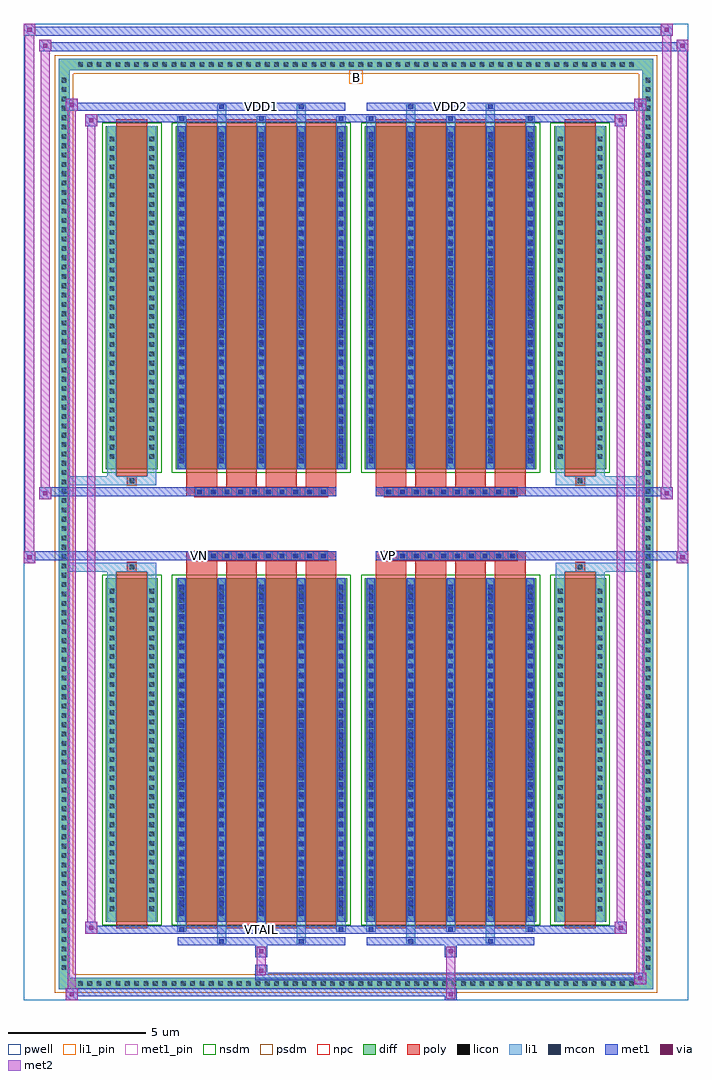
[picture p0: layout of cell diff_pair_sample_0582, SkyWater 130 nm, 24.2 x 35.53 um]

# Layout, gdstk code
import gdstk
lib = gdstk.Library(unit=1e-6, precision=5e-09)
def R(c, l, rs):  # rectangles x0, y0, x1, y1
    for r in rs: c.add(gdstk.rectangle(r[:2], r[2:], *l))
def A(c, l, x, y, w, h, nx, ny, dx, dy):  # array of equal rectangles
    R(c, l, [(x+i*dx, y+j*dy, x+i*dx+w, y+j*dy+h) for i in range(nx) for j in range(ny)])
def P(c, l, *ps):  # polygons
    for p in ps: c.add(gdstk.Polygon(p, *l))
pwell = (64, 44)
diff = (65, 20)
poly = (66, 20)
licon = (66, 44)
li1_pin = (67, 16)
li1 = (67, 20)
mcon = (67, 44)
met1_pin = (68, 16)
met1 = (68, 20)
via = (68, 44)
met2 = (69, 20)
nsdm = (93, 44)
psdm = (94, 20)
npc = (95, 20)

diff_pair_sample_0582 = lib.new_cell('diff_pair_sample_0582')
R(diff_pair_sample_0582, pwell, [(-12.1,-17.33,12.1,18.2), (-9.42,-15.52,-0.01,-0.8), (0.01,-15.52,9.42,-0.8), (-9.42,0.8,-0.01,15.52), (0.01,0.8,9.42,15.52)])
A(diff_pair_sample_0582, diff, -10.235, -16.93, 0.41, 0.41, 60, 2, 0.34, 33.45)
A(diff_pair_sample_0582, diff, -10.83, -16.355, 0.41, 0.41, 1, 96, 0, 0.34)
A(diff_pair_sample_0582, diff, 10.42, -16.355, 0.41, 0.41, 1, 96, 0, 0.34)
R(diff_pair_sample_0582, diff, [(-10.235,-16.93,10.235,-16.52), (-10.83,-16.355,-10.42,16.355), (10.42,-16.355,10.83,16.355), (-9.11,-14.475,-7.21,-1.985), (-6.57,-14.475,-0.32,-1.985), (0.32,-14.475,6.57,-1.985), (7.21,-14.475,9.11,-1.985), (-9.11,1.985,-7.21,14.475), (-6.57,1.985,-0.32,14.475), (0.32,1.985,6.57,14.475), (7.21,1.985,9.11,14.475), (-10.235,16.52,10.235,16.93)])
P(diff_pair_sample_0582, diff, [(10.83,16.93),(-10.83,16.93),(-10.83,-16.52),(-10.42,-16.52),(-10.42,16.52),(10.42,16.52),(10.42,-16.52),(-10.42,-16.52),(-10.83,-16.52),(-10.83,-16.93),(10.83,-16.93)])
A(diff_pair_sample_0582, poly, -6.18, -14.725, 1.12, 12.99, 4, 2, 1.45, 16.46)
A(diff_pair_sample_0582, poly, 0.71, -14.725, 1.12, 12.99, 4, 2, 1.45, 16.46)
A(diff_pair_sample_0582, poly, -6.18, -1.735, 1.12, 0.405, 4, 2, 1.45, 3.065)
A(diff_pair_sample_0582, poly, 0.71, -1.735, 1.12, 0.405, 4, 2, 1.45, 3.065)
A(diff_pair_sample_0582, poly, -5.86, -1.33, 0.33, 0.33, 10, 2, 0.5, 2.33)
A(diff_pair_sample_0582, poly, 1.03, -1.33, 0.33, 0.33, 10, 2, 0.5, 2.33)
R(diff_pair_sample_0582, poly, [(-8.72,-14.725,-7.6,-1.735), (7.6,-14.725,8.72,-1.735), (-8.325,-1.735,-7.995,-1.405), (-8.325,-1.735,-7.995,-1.405), (7.995,-1.735,8.325,-1.405), (7.995,-1.735,8.325,-1.405), (-6.18,-1.33,-0.71,-1), (0.71,-1.33,6.18,-1), (-6.18,1,-0.71,1.33), (0.71,1,6.18,1.33), (-8.325,1.405,-7.995,1.735), (-8.325,1.405,-7.995,1.735), (7.995,1.405,8.325,1.735), (7.995,1.405,8.325,1.735), (-8.72,1.735,-7.6,14.725), (7.6,1.735,8.72,14.725)])
A(diff_pair_sample_0582, licon, -10.115, -16.81, 0.17, 0.17, 60, 2, 0.34, 33.45)
A(diff_pair_sample_0582, licon, -10.71, -16.235, 0.17, 0.17, 1, 96, 0, 0.34)
A(diff_pair_sample_0582, licon, 10.54, -16.235, 0.17, 0.17, 1, 96, 0, 0.34)
A(diff_pair_sample_0582, licon, -8.97, -14.095, 0.17, 0.17, 1, 35, 0, 0.34)
A(diff_pair_sample_0582, licon, -7.52, -14.095, 0.17, 0.17, 1, 35, 0, 0.34)
A(diff_pair_sample_0582, licon, -6.43, -14.095, 0.17, 0.17, 5, 35, 1.45, 0.34)
A(diff_pair_sample_0582, licon, 0.46, -14.095, 0.17, 0.17, 5, 35, 1.45, 0.34)
A(diff_pair_sample_0582, licon, 7.35, -14.095, 0.17, 0.17, 1, 35, 0, 0.34)
A(diff_pair_sample_0582, licon, 8.8, -14.095, 0.17, 0.17, 1, 35, 0, 0.34)
A(diff_pair_sample_0582, licon, -5.78, -1.25, 0.17, 0.17, 10, 2, 0.5, 2.33)
A(diff_pair_sample_0582, licon, 1.11, -1.25, 0.17, 0.17, 10, 2, 0.5, 2.33)
A(diff_pair_sample_0582, licon, -8.97, 2.365, 0.17, 0.17, 1, 35, 0, 0.34)
A(diff_pair_sample_0582, licon, -7.52, 2.365, 0.17, 0.17, 1, 35, 0, 0.34)
A(diff_pair_sample_0582, licon, -6.43, 2.365, 0.17, 0.17, 5, 35, 1.45, 0.34)
A(diff_pair_sample_0582, licon, 0.46, 2.365, 0.17, 0.17, 5, 35, 1.45, 0.34)
A(diff_pair_sample_0582, licon, 7.35, 2.365, 0.17, 0.17, 1, 35, 0, 0.34)
A(diff_pair_sample_0582, licon, 8.8, 2.365, 0.17, 0.17, 1, 35, 0, 0.34)
R(diff_pair_sample_0582, licon, [(-8.245,-1.655,-8.075,-1.485), (8.075,-1.655,8.245,-1.485), (-8.245,1.485,-8.075,1.655), (8.075,1.485,8.245,1.655)])
R(diff_pair_sample_0582, li1_pin, [(-0.25,16.02,0.25,16.52)])
A(diff_pair_sample_0582, li1, -10.195, -16.89, 0.33, 0.33, 60, 2, 0.34, 33.45)
A(diff_pair_sample_0582, li1, -10.79, -16.315, 0.33, 0.33, 1, 96, 0, 0.34)
A(diff_pair_sample_0582, li1, 10.46, -16.315, 0.33, 0.33, 1, 96, 0, 0.34)
A(diff_pair_sample_0582, li1, -6.51, -14.85, 0.33, 0.375, 3, 2, 2.9, 29.325)
A(diff_pair_sample_0582, li1, -6.43, -14.85, 0.17, 0.17, 3, 2, 2.9, 29.53)
A(diff_pair_sample_0582, li1, 0.38, -14.85, 0.33, 0.375, 3, 2, 2.9, 29.325)
A(diff_pair_sample_0582, li1, 0.46, -14.85, 0.17, 0.17, 3, 2, 2.9, 29.53)
A(diff_pair_sample_0582, li1, -6.51, -14.475, 0.33, 12.49, 5, 2, 1.45, 16.46)
A(diff_pair_sample_0582, li1, 0.38, -14.475, 0.33, 12.49, 5, 2, 1.45, 16.46)
A(diff_pair_sample_0582, li1, -6.43, -14.255, 0.17, 0.17, 5, 34, 1.45, 0.36)
A(diff_pair_sample_0582, li1, -6.43, -14.255, 0.17, 12.05, 5, 2, 1.45, 16.46)
A(diff_pair_sample_0582, li1, 0.46, -14.255, 0.17, 0.17, 5, 34, 1.45, 0.36)
A(diff_pair_sample_0582, li1, 0.46, -14.255, 0.17, 12.05, 5, 2, 1.45, 16.46)
A(diff_pair_sample_0582, li1, -9.05, -14.175, 0.33, 0.33, 1, 35, 0, 0.34)
A(diff_pair_sample_0582, li1, -7.6, -14.175, 0.33, 0.33, 1, 35, 0, 0.34)
A(diff_pair_sample_0582, li1, -6.51, -14.175, 0.33, 0.33, 5, 35, 1.45, 0.34)
A(diff_pair_sample_0582, li1, 0.38, -14.175, 0.33, 0.33, 5, 35, 1.45, 0.34)
A(diff_pair_sample_0582, li1, 7.27, -14.175, 0.33, 0.33, 1, 35, 0, 0.34)
A(diff_pair_sample_0582, li1, 8.72, -14.175, 0.33, 0.33, 1, 35, 0, 0.34)
A(diff_pair_sample_0582, li1, -5.86, -1.33, 0.33, 0.33, 10, 2, 0.5, 2.33)
A(diff_pair_sample_0582, li1, 1.03, -1.33, 0.33, 0.33, 10, 2, 0.5, 2.33)
A(diff_pair_sample_0582, li1, -6.43, 2.205, 0.17, 0.17, 5, 34, 1.45, 0.36)
A(diff_pair_sample_0582, li1, 0.46, 2.205, 0.17, 0.17, 5, 34, 1.45, 0.36)
A(diff_pair_sample_0582, li1, -9.05, 2.285, 0.33, 0.33, 1, 35, 0, 0.34)
A(diff_pair_sample_0582, li1, -7.6, 2.285, 0.33, 0.33, 1, 35, 0, 0.34)
A(diff_pair_sample_0582, li1, -6.51, 2.285, 0.33, 0.33, 5, 35, 1.45, 0.34)
A(diff_pair_sample_0582, li1, 0.38, 2.285, 0.33, 0.33, 5, 35, 1.45, 0.34)
A(diff_pair_sample_0582, li1, 7.27, 2.285, 0.33, 0.33, 1, 35, 0, 0.34)
A(diff_pair_sample_0582, li1, 8.72, 2.285, 0.33, 0.33, 1, 35, 0, 0.34)
R(diff_pair_sample_0582, li1, [(-10.83,-16.93,-10.42,-16.52), (-10.83,-16.93,-10.42,-16.52), (-10.42,-16.93,10.42,-16.52), (10.42,-16.93,10.83,-16.52), (10.42,-16.93,10.83,-16.52), (-10.83,-16.52,-10.42,16.52), (10.42,-16.52,10.83,16.52), (-5.06,-15.28,-4.73,-14.475), (-4.98,-15.28,-4.81,-15.11), (-2.16,-15.28,-1.83,-14.475), (-2.08,-15.28,-1.91,-15.11), (1.83,-15.28,2.16,-14.475), (1.91,-15.28,2.08,-15.11), (4.73,-15.28,5.06,-14.475), (4.81,-15.28,4.98,-15.11), (-9.05,-14.475,-8.72,-1.985), (-7.6,-14.475,-7.27,-1.985), (7.27,-14.475,7.6,-1.985), (8.72,-14.475,9.05,-1.985), (-9.05,-1.985,-8.72,-1.405), (-7.6,-1.985,-7.27,-1.405), (7.27,-1.985,7.6,-1.405), (8.72,-1.985,9.05,-1.405), (-10.83,-1.735,-8.325,-1.405), (-9.05,-1.735,-8.325,-1.405), (-8.325,-1.735,-7.995,-1.405), (-7.995,-1.735,-7.27,-1.405), (7.27,-1.735,7.995,-1.405), (7.995,-1.735,8.325,-1.405), (7.995,-1.735,10.83,-1.405), (8.325,-1.735,9.05,-1.405), (-10.83,1.405,-8.325,1.735), (-9.05,1.405,-8.325,1.735), (-9.05,1.405,-8.72,1.985), (-8.325,1.405,-7.995,1.735), (-7.995,1.405,-7.27,1.735), (-7.6,1.405,-7.27,1.985), (7.27,1.405,7.995,1.735), (7.27,1.405,7.6,1.985), (7.995,1.405,8.325,1.735), (7.995,1.405,10.83,1.735), (8.325,1.405,9.05,1.735), (8.72,1.405,9.05,1.985), (-9.05,1.985,-8.72,14.475), (-7.6,1.985,-7.27,14.475), (7.27,1.985,7.6,14.475), (8.72,1.985,9.05,14.475), (-5.06,14.475,-4.73,15.28), (-2.16,14.475,-1.83,15.28), (1.83,14.475,2.16,15.28), (4.73,14.475,5.06,15.28), (-4.98,15.11,-4.81,15.28), (-2.08,15.11,-1.91,15.28), (1.91,15.11,2.08,15.28), (4.81,15.11,4.98,15.28), (-10.83,16.52,-10.42,16.93), (-10.83,16.52,-10.42,16.93), (-10.42,16.52,10.42,16.93), (10.42,16.52,10.83,16.93), (10.42,16.52,10.83,16.93)])
A(diff_pair_sample_0582, mcon, -6.43, -14.85, 0.17, 0.17, 3, 2, 2.9, 29.53)
A(diff_pair_sample_0582, mcon, 0.46, -14.85, 0.17, 0.17, 3, 2, 2.9, 29.53)
A(diff_pair_sample_0582, mcon, -6.43, -14.255, 0.17, 0.17, 5, 34, 1.45, 0.36)
A(diff_pair_sample_0582, mcon, 0.46, -14.255, 0.17, 0.17, 5, 34, 1.45, 0.36)
A(diff_pair_sample_0582, mcon, -5.78, -1.25, 0.17, 0.17, 10, 2, 0.5, 2.33)
A(diff_pair_sample_0582, mcon, 1.11, -1.25, 0.17, 0.17, 10, 2, 0.5, 2.33)
A(diff_pair_sample_0582, mcon, -6.43, 2.205, 0.17, 0.17, 5, 34, 1.45, 0.36)
A(diff_pair_sample_0582, mcon, 0.46, 2.205, 0.17, 0.17, 5, 34, 1.45, 0.36)
R(diff_pair_sample_0582, mcon, [(-4.98,-15.28,-4.81,-15.11), (-2.08,-15.28,-1.91,-15.11), (1.91,-15.28,2.08,-15.11), (4.81,-15.28,4.98,-15.11), (-4.98,15.11,-4.81,15.28), (-2.08,15.11,-1.91,15.28), (1.91,15.11,2.08,15.28), (4.81,15.11,4.98,15.28)])
R(diff_pair_sample_0582, met1_pin, [(-3.58,-14.89,-3.31,-14.62), (-5.83,-1.29,-5.56,-1.02), (1.06,-1.29,1.33,-1.02), (-3.58,15.07,-3.31,15.34), (3.31,15.07,3.58,15.34)])
A(diff_pair_sample_0582, met1, -6.49, -14.91, 0.29, 0.29, 3, 2, 2.9, 29.53)
A(diff_pair_sample_0582, met1, 0.4, -14.91, 0.29, 0.29, 3, 2, 2.9, 29.53)
A(diff_pair_sample_0582, met1, -6.49, -14.475, 0.29, 12.49, 5, 2, 1.45, 16.46)
A(diff_pair_sample_0582, met1, 0.4, -14.475, 0.29, 12.49, 5, 2, 1.45, 16.46)
A(diff_pair_sample_0582, met1, -6.49, -14.315, 0.29, 0.29, 5, 34, 1.45, 0.36)
A(diff_pair_sample_0582, met1, 0.4, -14.315, 0.29, 0.29, 5, 34, 1.45, 0.36)
A(diff_pair_sample_0582, met1, -5.84, -1.31, 0.29, 0.29, 10, 2, 0.5, 2.33)
A(diff_pair_sample_0582, met1, 1.05, -1.31, 0.29, 0.29, 10, 2, 0.5, 2.33)
A(diff_pair_sample_0582, met1, -6.49, 2.145, 0.29, 0.29, 5, 34, 1.45, 0.36)
A(diff_pair_sample_0582, met1, 0.4, 2.145, 0.29, 0.29, 5, 34, 1.45, 0.36)
R(diff_pair_sample_0582, met1, [(-10.56,-17.33,-10.13,-16.9), (3.23,-17.33,3.66,-16.9), (-10.56,-17.19,3.66,-16.9), (10.13,-16.76,10.56,-16.33), (-3.66,-16.62,10.56,-16.33), (-3.66,-16.48,-3.23,-16.05), (-3.66,-15.77,-3.23,-15.34), (3.23,-15.77,3.66,-15.34), (-6.49,-15.34,-0.4,-15.05), (-5.04,-15.34,-4.75,-15.05), (-2.14,-15.34,-1.85,-15.05), (0.4,-15.34,6.49,-15.05), (1.85,-15.34,2.14,-15.05), (4.75,-15.34,5.04,-15.05), (-9.85,-14.91,-9.42,-14.48), (-9.85,-14.91,-6.49,-14.62), (-6.49,-14.91,-0.4,-14.62), (-0.4,-14.91,0.4,-14.62), (0.4,-14.91,6.49,-14.62), (6.49,-14.91,9.85,-14.62), (9.42,-14.91,9.85,-14.48), (-12.1,-1.43,-11.67,-1), (11.67,-1.43,12.1,-1), (-12.1,-1.33,-0.71,-1), (-6.18,-1.33,-0.71,-1), (0.71,-1.33,6.18,-1), (0.71,-1.33,12.1,-1), (-11.53,0.9,-11.1,1.33), (11.1,0.9,11.53,1.33), (-11.53,1,-6.18,1.33), (-6.18,1,-0.71,1.33), (0.71,1,6.18,1.33), (6.18,1,11.53,1.33), (-9.85,14.48,-9.42,14.91), (9.42,14.48,9.85,14.91), (-9.85,14.62,-6.49,14.91), (-6.49,14.62,-0.4,14.91), (-0.4,14.62,0.4,14.91), (0.4,14.62,6.49,14.91), (6.49,14.62,9.85,14.91), (-10.56,15.05,-10.13,15.48), (-10.56,15.05,-6.49,15.34), (-6.49,15.05,-0.4,15.34), (-5.04,15.05,-4.75,15.34), (-2.14,15.05,-1.85,15.34), (0.4,15.05,6.49,15.34), (1.85,15.05,2.14,15.34), (4.75,15.05,5.04,15.34), (6.49,15.05,10.56,15.34), (10.13,15.05,10.56,15.48), (-11.53,17.2,-11.1,17.63), (-11.53,17.2,-9.42,17.53), (-9.42,17.2,9.42,17.53), (9.42,17.2,12.1,17.53), (11.67,17.2,12.1,17.63), (-12.1,17.77,-11.67,18.2), (-12.1,17.77,-9.42,18.1), (-9.42,17.77,9.42,18.1), (9.42,17.77,11.53,18.1), (11.1,17.77,11.53,18.2)])
R(diff_pair_sample_0582, via, [(-10.42,-17.19,-10.27,-17.04), (3.37,-17.19,3.52,-17.04), (10.27,-16.62,10.42,-16.47), (-3.52,-16.34,-3.37,-16.19), (-3.52,-15.63,-3.37,-15.48), (3.37,-15.63,3.52,-15.48), (-9.71,-14.77,-9.56,-14.62), (9.56,-14.77,9.71,-14.62), (-11.96,-1.29,-11.81,-1.14), (11.81,-1.29,11.96,-1.14), (-11.39,1.04,-11.24,1.19), (11.24,1.04,11.39,1.19), (-9.71,14.62,-9.56,14.77), (9.56,14.62,9.71,14.77), (-10.42,15.19,-10.27,15.34), (10.27,15.19,10.42,15.34), (-11.39,17.34,-11.24,17.49), (11.81,17.34,11.96,17.49), (-11.96,17.91,-11.81,18.06), (11.24,17.91,11.39,18.06)])
R(diff_pair_sample_0582, met2, [(-10.56,-17.33,-10.13,-16.9), (-10.49,-17.33,-10.2,15.48), (-10.2,-17.33,-10.13,-16.9), (-10.51,-17.28,-10.18,-16.95), (3.28,-17.28,3.61,-16.95), (3.28,-16.95,3.61,-15.72), (10.13,-16.76,10.56,-16.33), (10.2,-16.76,10.49,15.48), (10.49,-16.76,10.56,-16.33), (10.18,-16.71,10.51,-16.38), (-3.61,-16.43,-3.28,-16.1), (-3.61,-16.1,-3.28,-15.72), (-3.61,-15.72,-3.28,-15.39), (3.28,-15.72,3.61,-15.39), (-9.85,-14.91,-9.42,-14.48), (-9.78,-14.91,-9.49,14.91), (-9.49,-14.91,-9.42,-14.48), (9.42,-14.91,9.85,-14.48), (9.49,-14.91,9.78,14.91), (9.78,-14.91,9.85,-14.48), (-9.8,-14.86,-9.47,-14.53), (9.47,-14.86,9.8,-14.53), (-12.1,-1.43,-11.67,-1), (-12.05,-1.43,-11.72,18.2), (-11.72,-1.43,-11.67,-1), (11.67,-1.43,12.1,-1), (11.72,-1.43,12.05,17.63), (12.05,-1.43,12.1,-1), (-12.05,-1.38,-11.72,-1.05), (11.72,-1.38,12.05,-1.05), (-11.53,0.9,-11.1,1.33), (-11.48,0.9,-11.15,17.63), (-11.15,0.9,-11.1,1.33), (11.1,0.9,11.53,1.33), (11.15,0.9,11.48,18.2), (11.48,0.9,11.53,1.33), (-11.48,0.95,-11.15,1.28), (11.15,0.95,11.48,1.28), (-9.85,14.48,-9.42,14.91), (-9.49,14.48,-9.42,14.91), (9.42,14.48,9.85,14.91), (9.78,14.48,9.85,14.91), (-9.8,14.53,-9.47,14.86), (9.47,14.53,9.8,14.86), (-10.56,15.05,-10.13,15.48), (-10.2,15.05,-10.13,15.48), (10.13,15.05,10.56,15.48), (10.49,15.05,10.56,15.48), (-10.51,15.1,-10.18,15.43), (10.18,15.1,10.51,15.43), (-11.53,17.2,-11.1,17.63), (-11.15,17.2,-11.1,17.63), (11.67,17.2,12.1,17.63), (12.05,17.2,12.1,17.63), (-11.48,17.25,-11.15,17.58), (11.72,17.25,12.05,17.58), (-12.1,17.77,-11.67,18.2), (-11.72,17.77,-11.67,18.2), (11.1,17.77,11.53,18.2), (11.48,17.77,11.53,18.2), (-12.05,17.82,-11.72,18.15), (11.15,17.82,11.48,18.15)])
R(diff_pair_sample_0582, nsdm, [(-9.24,-14.605,-7.08,-1.855), (-6.7,-14.605,-0.19,-1.855), (0.19,-14.605,6.7,-1.855), (7.08,-14.605,9.24,-1.855), (-9.24,1.855,-7.08,14.605), (-6.7,1.855,-0.19,14.605), (0.19,1.855,6.7,14.605), (7.08,1.855,9.24,14.605)])
P(diff_pair_sample_0582, psdm, [(10.96,17.06),(-10.96,17.06),(-10.96,-16.39),(-10.29,-16.39),(-10.29,16.39),(10.29,16.39),(10.29,-16.39),(-10.29,-16.39),(-10.96,-16.39),(-10.96,-17.06),(10.96,-17.06)])
A(diff_pair_sample_0582, npc, -5.88, -1.35, 0.37, 0.37, 10, 2, 0.5, 2.33)
A(diff_pair_sample_0582, npc, 1.01, -1.35, 0.37, 0.37, 10, 2, 0.5, 2.33)
R(diff_pair_sample_0582, npc, [(-8.345,-1.755,-7.975,-1.385), (7.975,-1.755,8.345,-1.385), (-5.88,-1.35,-5.01,-0.98), (-5.88,-1.35,-5.01,-0.98), (-5.38,-1.35,-4.51,-0.98), (-5.38,-1.35,-4.51,-0.98), (-4.88,-1.35,-4.01,-0.98), (-4.88,-1.35,-4.01,-0.98), (-4.38,-1.35,-3.51,-0.98), (-4.38,-1.35,-3.51,-0.98), (-3.88,-1.35,-3.01,-0.98), (-3.88,-1.35,-3.01,-0.98), (-3.38,-1.35,-2.51,-0.98), (-3.38,-1.35,-2.51,-0.98), (-2.88,-1.35,-2.01,-0.98), (-2.88,-1.35,-2.01,-0.98), (-2.38,-1.35,-1.51,-0.98), (-2.38,-1.35,-1.51,-0.98), (-1.88,-1.35,-1.01,-0.98), (-1.88,-1.35,-1.01,-0.98), (1.01,-1.35,1.88,-0.98), (1.01,-1.35,1.88,-0.98), (1.51,-1.35,2.38,-0.98), (1.51,-1.35,2.38,-0.98), (2.01,-1.35,2.88,-0.98), (2.01,-1.35,2.88,-0.98), (2.51,-1.35,3.38,-0.98), (2.51,-1.35,3.38,-0.98), (3.01,-1.35,3.88,-0.98), (3.01,-1.35,3.88,-0.98), (3.51,-1.35,4.38,-0.98), (3.51,-1.35,4.38,-0.98), (4.01,-1.35,4.88,-0.98), (4.01,-1.35,4.88,-0.98), (4.51,-1.35,5.38,-0.98), (4.51,-1.35,5.38,-0.98), (5.01,-1.35,5.88,-0.98), (5.01,-1.35,5.88,-0.98), (-5.88,0.98,-5.01,1.35), (-5.88,0.98,-5.01,1.35), (-5.38,0.98,-4.51,1.35), (-5.38,0.98,-4.51,1.35), (-4.88,0.98,-4.01,1.35), (-4.88,0.98,-4.01,1.35), (-4.38,0.98,-3.51,1.35), (-4.38,0.98,-3.51,1.35), (-3.88,0.98,-3.01,1.35), (-3.88,0.98,-3.01,1.35), (-3.38,0.98,-2.51,1.35), (-3.38,0.98,-2.51,1.35), (-2.88,0.98,-2.01,1.35), (-2.88,0.98,-2.01,1.35), (-2.38,0.98,-1.51,1.35), (-2.38,0.98,-1.51,1.35), (-1.88,0.98,-1.01,1.35), (-1.88,0.98,-1.01,1.35), (1.01,0.98,1.88,1.35), (1.01,0.98,1.88,1.35), (1.51,0.98,2.38,1.35), (1.51,0.98,2.38,1.35), (2.01,0.98,2.88,1.35), (2.01,0.98,2.88,1.35), (2.51,0.98,3.38,1.35), (2.51,0.98,3.38,1.35), (3.01,0.98,3.88,1.35), (3.01,0.98,3.88,1.35), (3.51,0.98,4.38,1.35), (3.51,0.98,4.38,1.35), (4.01,0.98,4.88,1.35), (4.01,0.98,4.88,1.35), (4.51,0.98,5.38,1.35), (4.51,0.98,5.38,1.35), (5.01,0.98,5.88,1.35), (5.01,0.98,5.88,1.35), (-8.345,1.385,-7.975,1.755), (7.975,1.385,8.345,1.755)])
diff_pair_sample_0582.add(gdstk.Label('VTAIL', (-3.445,-14.755), layer=68, texttype=5))
diff_pair_sample_0582.add(gdstk.Label('VN', (-5.695,-1.155), layer=68, texttype=5))
diff_pair_sample_0582.add(gdstk.Label('VP', (1.195,-1.155), layer=68, texttype=5))
diff_pair_sample_0582.add(gdstk.Label('B', (0,16.27), layer=67, texttype=5))
diff_pair_sample_0582.add(gdstk.Label('VDD2', (3.445,15.205), layer=68, texttype=5))
diff_pair_sample_0582.add(gdstk.Label('VDD1', (-3.445,15.205), layer=68, texttype=5))

lib.write_gds('diff_pair_sample_0582.gds')
